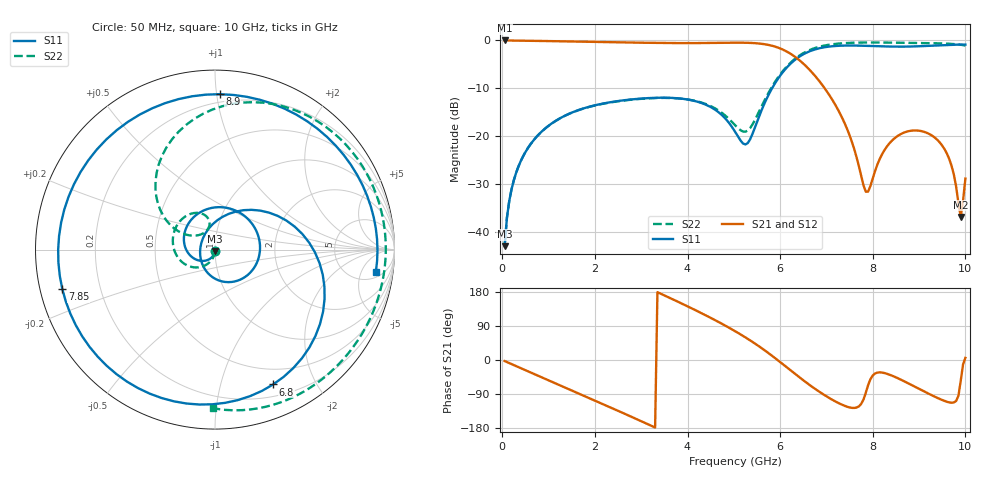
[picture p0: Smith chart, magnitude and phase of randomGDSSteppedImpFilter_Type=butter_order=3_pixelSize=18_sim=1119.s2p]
! freq	dB(S11)	phase(S11)	dB(S12)	phase(S12)
!  dB(S21)	phase(S21)	dB(S22)	phase(S22)
!S-par simulation data
#  GHz  S  DB  R 50
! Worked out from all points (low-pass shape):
!   200 points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, 50 MHz to 10 GHz, reference 50 ohm
!   highest |S21| = -0.01 dB at 50 MHz (marker M1); lowest = -36.8 dB at 9.9 GHz (marker M2)
!   |S21| within 3 dB of the highest: start of sweep to 6.261 GHz
!   lowest |S11| = -42.9 dB at 50 MHz (marker M3), VSWR 1.01, Z = 50 - j0.715 ohm
!   |S11| at or under -10 dB: start of sweep to 5.825 GHz
!   |S22| runs from -42.9 to -0.4 dB; largest |S21 - S12| = 0
!   S11 on the Smith chart (normalised r, x): 50 MHz: 1.00, -0.01; 6.8 GHz: 0.32, -1.47; 7.85 GHz: 0.07, -0.13; 8.9 GHz: 0.15, +1.02; 10 GHz: 7, -10
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0.05  -42.91 -91.3  -0.01 -2.7  -0.01 -2.7  -42.90 -90.0
0.2  -31.04 -103.2  -0.02 -10.8  -0.02 -10.8  -31.02 -97.9
0.5  -23.28 -124.1  -0.06 -26.9  -0.06 -26.9  -23.27 -110.8
1.15  -16.78 -168.6  -0.16 -61.7  -0.16 -61.7  -16.80 -136.5
1.75  -14.19 149.2  -0.28 -93.7  -0.28 -93.7  -14.22 -158.4
2.65  -12.45 82.4  -0.43 -142.3  -0.43 -142.3  -12.51 171.6
3.4  -11.95 24.7  -0.52 176.2  -0.52 176.2  -12.00 146.9
4.35  -13.22 -50.3  -0.54 120.6  -0.54 120.6  -13.11 113.0
5.05  -19.42 -131.9  -0.47 74.5  -0.47 74.5  -17.91 106.1
5.3  -21.41 153.1  -0.49 55.8  -0.49 55.8  -18.80 132.2
5.85  -9.57 40.9  -1.18 8.8  -1.18 8.8  -9.23 146.8
6.3  -4.21 -13.0  -3.26 -34.5  -3.26 -34.5  -3.99 115.2
6.7  -2.04 -56.5  -6.80 -71.5  -6.80 -71.5  -1.75 83.3
6.8  -1.74 -66.6  -7.93 -80.0  -7.93 -80.0  -1.43 75.7
7.3  -1.10 -114.4  -15.39 -116.0  -15.39 -116.0  -0.62 41.7
7.85  -1.12 -165.6  -31.56 -86.3  -31.56 -86.3  -0.43 11.0
8.35  -1.27 144.9  -21.57 -38.2  -21.57 -38.2  -0.45 -12.7
8.9  -1.25 88.3  -18.78 -69.9  -18.78 -69.9  -0.52 -36.1
9.6  -0.94 23.5  -23.58 -110.2  -23.58 -110.2  -0.67 -66.8
9.75  -0.89 11.4  -27.95 -112.1  -27.95 -112.1  -0.75 -74.6
9.9  -0.86 -0.2  -36.80 -54.4  -36.80 -54.4  -0.90 -83.5
10  -0.87 -7.8  -28.82 5.7  -28.82 5.7  -1.07 -90.6
